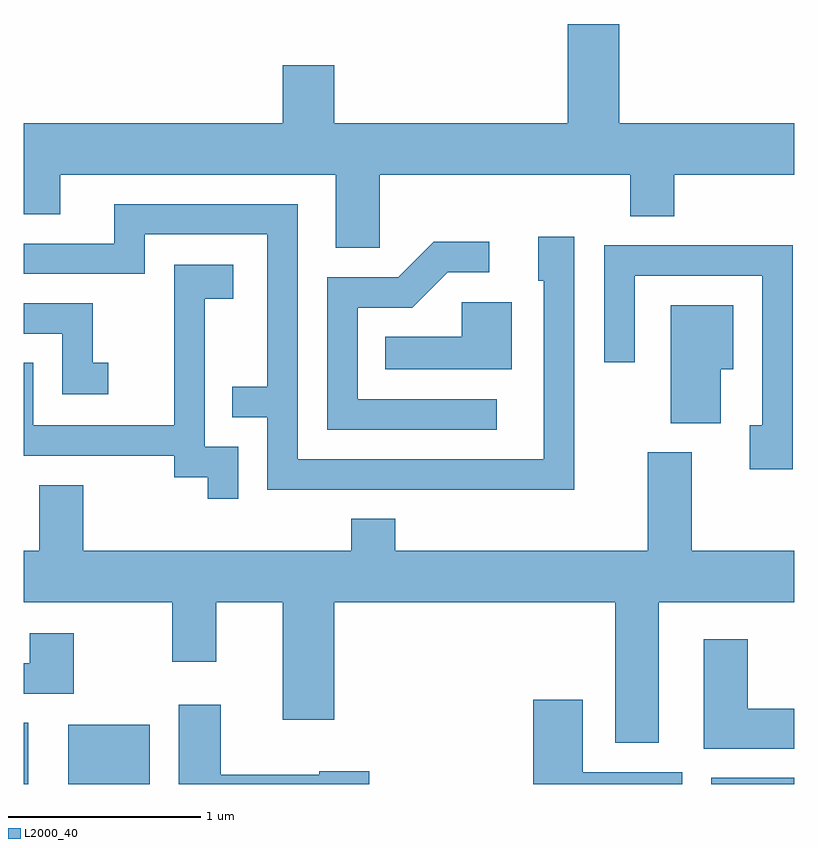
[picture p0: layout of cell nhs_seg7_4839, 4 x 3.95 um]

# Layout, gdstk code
import gdstk
lib = gdstk.Library(unit=1e-6, precision=1e-09)
def R(c, l, rs):  # rectangles x0, y0, x1, y1
    for r in rs: c.add(gdstk.rectangle(r[:2], r[2:], *l))
def P(c, l, *ps):  # polygons
    for p in ps: c.add(gdstk.Polygon(p, *l))
L2000_40 = (2000, 40)

nhs_seg7_4839 = lib.new_cell('nhs_seg7_4839')
R(nhs_seg7_4839, L2000_40, [(333.611,1722.252,333.634,1722.569), (333.841,1722.252,334.264,1722.559), (337.181,1722.252,337.611,1722.284)])
P(nhs_seg7_4839, L2000_40, [(335.459,1725.416),(336.761,1725.416),(336.761,1725.201),(336.989,1725.201),(336.989,1725.416),(337.611,1725.416),(337.611,1725.684),(336.704,1725.684),(336.704,1726.199),(336.436,1726.199),(336.436,1725.684),(335.224,1725.684),(335.224,1725.984),(334.956,1725.984),(334.956,1725.684),(333.611,1725.684),(333.611,1725.211),(333.799,1725.211),(333.799,1725.416),(335.231,1725.416),(335.231,1725.036),(335.459,1725.036)],
  [(336.469,1725.094),(336.281,1725.094),(336.281,1724.866),(336.311,1724.866),(336.311,1723.939),(335.034,1723.939),(335.034,1725.264),(334.081,1725.264),(334.081,1725.059),(333.611,1725.059),(333.611,1724.901),(334.239,1724.901),(334.239,1725.106),(334.876,1725.106),(334.876,1724.314),(334.693,1724.314),(334.693,1724.156),(334.876,1724.156),(334.876,1723.781),(336.469,1723.781)],
  [(336.068,1724.249),(335.344,1724.249),(335.344,1724.726),(335.627,1724.726),(335.812,1724.911),(336.028,1724.911),(336.028,1725.069),(335.739,1725.069),(335.554,1724.884),(335.186,1724.884),(335.186,1724.091),(336.068,1724.091)],
  [(337.604,1725.049),(336.626,1725.049),(336.626,1724.443),(336.784,1724.443),(336.784,1724.891),(337.446,1724.891),(337.446,1724.114),(337.381,1724.114),(337.381,1723.886),(337.604,1723.886)],
  [(334.724,1724.004),(334.549,1724.004),(334.549,1724.771),(334.699,1724.771),(334.699,1724.949),(334.391,1724.949),(334.391,1724.114),(333.659,1724.114),(333.659,1724.439),(333.611,1724.439),(333.611,1723.956),(334.391,1723.956),(334.391,1723.846),(334.566,1723.846),(334.566,1723.733),(334.724,1723.733)],
  [(336.144,1724.754),(335.886,1724.754),(335.886,1724.574),(335.488,1724.574),(335.488,1724.406),(336.144,1724.406)],
  [(334.048,1724.439),(333.969,1724.439),(333.969,1724.749),(333.611,1724.749),(333.611,1724.591),(333.811,1724.591),(333.811,1724.276),(334.048,1724.276)],
  [(337.229,1724.406),(337.294,1724.406),(337.294,1724.739),(336.971,1724.739),(336.971,1724.126),(337.229,1724.126)],
  [(336.909,1723.196),(337.611,1723.196),(337.611,1723.464),(337.079,1723.464),(337.079,1723.974),(336.851,1723.974),(336.851,1723.464),(335.539,1723.464),(335.539,1723.629),(335.311,1723.629),(335.311,1723.464),(333.919,1723.464),(333.919,1723.804),(333.691,1723.804),(333.691,1723.464),(333.611,1723.464),(333.611,1723.196),(334.381,1723.196),(334.381,1722.886),(334.609,1722.886),(334.609,1723.196),(334.956,1723.196),(334.956,1722.586),(335.224,1722.586),(335.224,1723.196),(336.681,1723.196),(336.681,1722.466),(336.909,1722.466)],
  [(333.869,1723.034),(333.641,1723.034),(333.641,1722.879),(333.611,1722.879),(333.611,1722.721),(333.869,1722.721)],
  [(337.611,1722.644),(337.369,1722.644),(337.369,1723.004),(337.141,1723.004),(337.141,1722.436),(337.611,1722.436)],
  [(337.029,1722.314),(336.514,1722.314),(336.514,1722.689),(336.256,1722.689),(336.256,1722.252),(337.029,1722.252)],
  [(335.404,1722.319),(335.146,1722.319),(335.146,1722.299),(334.634,1722.299),(334.634,1722.664),(334.416,1722.664),(334.416,1722.252),(335.404,1722.252)])

lib.write_gds('nhs_seg7_4839.gds')
